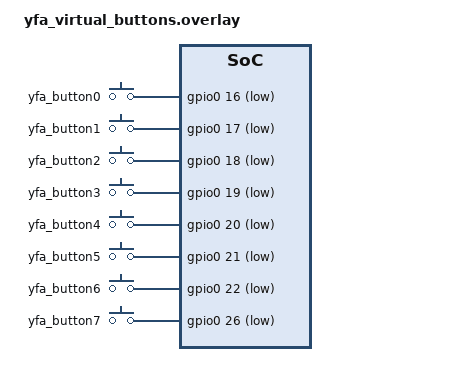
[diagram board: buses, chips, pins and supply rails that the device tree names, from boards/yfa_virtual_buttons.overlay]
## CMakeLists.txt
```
# Copyright (c) 2024 Henrik Brix Andersen <henrik@brixandersen.dk>
# SPDX-License-Identifier: Apache-2.0

cmake_minimum_required(VERSION 3.13.1)
# Tracked GPIO aliases must survive pristine builds. Kconfig values are not
# available until Zephyr configuration, so include for this board unconditionally.
if(BOARD MATCHES "^waveshare_rp2350_can")
  list(APPEND EXTRA_DTC_OVERLAY_FILE "${CMAKE_CURRENT_SOURCE_DIR}/boards/yfa_virtual_buttons.overlay")
endif()
find_package(Zephyr REQUIRED HINTS $ENV{ZEPHYR_BASE})

project(cannectivity LANGUAGES C)

if(CONFIG_CANNECTIVITY_USB_VID EQUAL 0x1209)
  if(CONFIG_CANNECTIVITY_USB_PID LESS_EQUAL 0x0010)
    message(WARNING
      "CONFIG_CANNECTIVITY_USB_PID is set to a generic pid.codes Test PID (${CONFIG_CANNECTIVITY_USB_PID}).
This PID is not unique and should not be used outside test environments."
      )
  endif()
endif()

if(CONFIG_CANNECTIVITY_DFU_BACKEND_APP)
  if(CONFIG_CANNECTIVITY_USB_DFU_VID EQUAL 0x1209)
    if(CONFIG_CANNECTIVITY_USB_DFU_PID LESS_EQUAL 0x0010)
      message(WARNING
        "CONFIG_CANNECTIVITY_USB_DFU_PID is set to a generic pid.codes Test PID (${CONFIG_CANNECTIVITY_USB_DFU_PID}).
This PID is not unique and should not be used outside test environments."
        )
    endif()
  endif()
endif()

target_sources(app PRIVATE
  src/main.c
  src/usb.c
)

target_sources_ifdef(CONFIG_CANNECTIVITY_LED app PRIVATE
  src/led.c
)

target_sources_ifdef(CONFIG_CANNECTIVITY_TIMESTAMP_COUNTER app PRIVATE
  src/timestamp-counter.c
)

target_sources_ifdef(CONFIG_CANNECTIVITY_TIMESTAMP_UPTIME app PRIVATE
  src/timestamp-uptime.c
)

target_sources_ifdef(CONFIG_CANNECTIVITY_TERMINATION_GPIO app PRIVATE
  src/termination.c
)

target_sources_ifdef(CONFIG_CANNECTIVITY_DFU_SUPPORT app PRIVATE
  src/dfu.c
)


target_sources_ifdef(CONFIG_CANNECTIVITY_VIRTUAL_BUTTONS app PRIVATE src/virtual_buttons.c)
```

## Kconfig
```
# Copyright (c) 2024-2025 Henrik Brix Andersen <henrik@brixandersen.dk>
# SPDX-License-Identifier: Apache-2.0

menu "CANnectivity"

module = CANNECTIVITY
module-str = CANnectivity
source "subsys/logging/Kconfig.template.log_config"

config CANNECTIVITY_VIRTUAL_BUTTONS
	bool "USB-only virtual CAN frames from GPIO buttons"
	select GPIO
	default n
	help
	  Poll up to eight active-low GPIO buttons and report state changes
	  to the USB host using standard CAN identifier 0x555.
	  Frames are never transmitted onto the physical CAN bus.

config CANNECTIVITY_VIRTUAL_BUTTON_DEBOUNCE_MS
    int "Virtual GPIO button debounce duration (ms)"
    depends on CANNECTIVITY_VIRTUAL_BUTTONS
    range 10 1000
    default 50
    help
      Minimum time a sampled GPIO button state must remain unchanged
      before a new USB-only virtual CAN button state is reported.
      The GPIO polling interval is 10 ms. The effective debounce
      threshold is rounded up to whole polling intervals.

config CANNECTIVITY_BOOT_BANNER
	bool "CANnectivity boot banner"
	default y if BOOT_BANNER
	select PRINTK
	help
	  Print the CANnectivity firmware version during boot up.

config CANNECTIVITY_USB_MANUFACTURER
	string "USB device manufacturer string"
	default "CANnectivity"
	help
	  CANnectivity USB device manufacturer string.

config CANNECTIVITY_USB_PRODUCT
	string "USB device product string"
	default "CANnectivity USB to CAN adapter"
	help
	  CANnectivity USB device product string.

config CANNECTIVITY_USB_VID
	hex "USB device Vendor ID (VID)"
	default 0x1209
	help
	  CANnectivity USB device Vendor ID (VID).

config CANNECTIVITY_USB_PID
	hex "USB device Product ID (PID)"
	default 0xca01
	help
	  CANnectivity USB device Product ID (PID).

config CANNECTIVITY_USB_SELF_POWERED
	bool "USB device is self-powered"
	default y
	help
	  CANnectivity USB device is self-powered.

config CANNECTIVITY_USB_MAX_POWER
	int "USB device maximum power"
	default 125
	range 0 250
	help
	  CANnectivity USB maximum current draw in milliampere (mA) divided by 2.
	  A value of 125 results in a maximum current draw value of 250 mA.

config CANNECTIVITY_MAX_CHANNELS
	int "Maximum number of supported channels"
	default 1 if !$(dt_compat_enabled,cannectivity-channel)
	default $(dt_compat_enabled_num,cannectivity-channel) if $(dt_compat_enabled,cannectivity-channel)
	range 1 256
	help
	  Maximum number of supported Geschwister Schneider USB/CAN (gs_usb) channels. Each channel
	  represents one CAN controller.

	  The Linux kernel driver supports up to 3 channels. Other drivers may support just one
	  channel.

if USB_DEVICE_STACK

configdefault USB_DEVICE_MANUFACTURER
	default CANNECTIVITY_USB_MANUFACTURER

configdefault USB_DEVICE_PRODUCT
	default CANNECTIVITY_USB_PRODUCT

configdefault USB_DEVICE_VID
	default CANNECTIVITY_USB_VID

configdefault USB_DEVICE_PID
	default CANNECTIVITY_USB_PID

configdefault USB_SELF_POWERED
	default CANNECTIVITY_USB_SELF_POWERED

configdefault USB_MAX_POWER
	default CANNECTIVITY_USB_MAX_POWER

configdefault USB_DEVICE_GS_USB_MAX_CHANNELS
	default CANNECTIVITY_MAX_CHANNELS

endif # USB_DEVICE_STACK

if USB_DEVICE_STACK_NEXT

configdefault USBD_GS_USB_MAX_CHANNELS
	default CANNECTIVITY_MAX_CHANNELS

endif # USB_DEVICE_STACK_NEXT

config CANNECTIVITY_LED
	bool "LED support"
	default y
	depends on $(dt_compat_any_has_prop,cannectivity-channel,state-led) || \
		   $(dt_compat_any_has_prop,cannectivity-channel,activity-leds) || \
		   ($(dt_alias_enabled,led0) && !$(dt_compat_enabled,cannectivity))
	select LED
	select SMF
	select SMF_ANCESTOR_SUPPORT
	select SMF_INITIAL_TRANSITION
	select POLL
	select USB_DEVICE_GS_USB_IDENTIFICATION if USB_DEVICE_GS_USB
	select USBD_GS_USB_IDENTIFICATION if USBD_GS_USB
	help
	  Enable support for CAN channel status/activity LEDs.

if CANNECTIVITY_LED

config CANNECTIVITY_LED_EVENT_MSGQ_SIZE
	int "LED event message queue size"
	default 10
	help
	  Number of per-channel LED events that can be queued for the finite-state machine.

endif # CANNECTIVITY_LED

config CANNECTIVITY_TIMESTAMP
	bool # hidden
	select USB_DEVICE_GS_USB_TIMESTAMP if USB_DEVICE_GS_USB
	select USBD_GS_USB_TIMESTAMP if USBD_GS_USB
	help
	  Enable support for hardware timestamps.

config CANNECTIVITY_TIMESTAMP_COUNTER
	bool "Hardware timestamp support (32-bit counter @ 1MHz)"
	default y
	depends on $(dt_nodelabel_has_prop,cannectivity,timestamp-counter)
	select COUNTER
	select CANNECTIVITY_TIMESTAMP
	help
	  Enable support for hardware timestamps. This requires a 32-bit counter instance running @
	  1MHz.

config CANNECTIVITY_TIMESTAMP_UPTIME
	bool "Hardware timestamp support (64-bit cycle counter)"
	default y
	depends on TIMER_HAS_64BIT_CYCLE_COUNTER
	depends on !CANNECTIVITY_TIMESTAMP_COUNTER
	select CANNECTIVITY_TIMESTAMP
	help
	  Enable support for hardware timestamps. This requires a 64-bit cycle counter.

config CANNECTIVITY_TERMINATION_GPIO
	bool "CAN bus termination resistor support"
	default y
	depends on $(dt_compat_any_has_prop,cannectivity-channel,termination-gpios)
	select USB_DEVICE_GS_USB_TERMINATION if USB_DEVICE_GS_USB
	select USBD_GS_USB_TERMINATION if USBD_GS_USB
	select GPIO
	help
	  Enable support for GPIO-controlled CAN bus termination resistors.

config CANNECTIVITY_TERMINATION_DEFAULT_ON
	bool "Enable CAN bus termination resistors on boot-up"
	default y
	depends on CANNECTIVITY_TERMINATION_GPIO
	help
	  Enable CAN bus termination resistors on boot-up.

menuconfig CANNECTIVITY_DFU_SUPPORT
	bool "Device Firmware Upgrade (DFU) support"
	default y if BOOTLOADER_MCUBOOT
	help
	  Enable Device Firmware Upgrade (DFU) support.

if CANNECTIVITY_DFU_SUPPORT

choice CANNECTIVITY_DFU_BACKEND
	bool "DFU backend"
	default CANNECTIVITY_DFU_BACKEND_NONE if !BOOTLOADER_MCUBOOT
	default CANNECTIVITY_DFU_BACKEND_MCUBOOT if BOOTLOADER_MCUBOOT && USB_DEVICE_STACK
	default CANNECTIVITY_DFU_BACKEND_MCUBOOT if BOOTLOADER_MCUBOOT && MCUBOOT_BOOTLOADER_MODE_SINGLE_APP
	default CANNECTIVITY_DFU_BACKEND_APP if BOOTLOADER_MCUBOOT && USB_DEVICE_STACK_NEXT

config CANNECTIVITY_DFU_BACKEND_NONE
	bool "No backend"
	help
	  Device Firmware Upgrade is handled by an on-chip ROM bootloader.

config CANNECTIVITY_DFU_BACKEND_MCUBOOT
	bool "MCUboot"
	depends on BOOTLOADER_MCUBOOT
	help
	  Device Firmware Upgrade is handled by rebooting into MCUboot, with the bootloader exposing
	  an USB DFU or serial recovery interface.

config CANNECTIVITY_DFU_BACKEND_APP
	bool "Application"
	depends on BOOTLOADER_MCUBOOT && !MCUBOOT_BOOTLOADER_MODE_SINGLE_APP && USB_DEVICE_STACK_NEXT
	help
	  Device Firmware Upgrade is handled by the CANnectivity firmware application. The upgrade
	  process is handled by MCUboot upon reboot.

endchoice

config CANNECTIVITY_DFU_REBOOT
	bool "Automatic reboot upon DFU download completion"
	depends on CANNECTIVITY_DFU_BACKEND_APP
	default y
	select REBOOT
	help
	  Automatically reboot device upon completion of a DFU download.

config CANNECTIVITY_DFU_REBOOT_DELAY
	int "Reboot delay"
	default 100
	range 0 60000
	depends on CANNECTIVITY_DFU_REBOOT
	help
	  Delay in milliseconds between completion of a DFU download and device reboot.

config CANNECTIVITY_USB_DFU_PRODUCT
	string "USB DFU device product string"
	default "CANnectivity USB to CAN adapter (DFU)"
	depends on CANNECTIVITY_DFU_BACKEND_APP
	help
	  CANnectivity USB device DFU product string.

config CANNECTIVITY_USB_DFU_VID
	hex "USB device DFU Vendor ID (VID)"
	default 0xffff if !CANNECTIVITY_DFU_BACKEND_APP
	default 0x1209 if CANNECTIVITY_DFU_BACKEND_APP
	help
	  CANnectivity USB device DFU Vendor ID (VID).

config CANNECTIVITY_USB_DFU_PID
	hex "USB device DFU Product ID (PID)"
	default 0xffff if !CANNECTIVITY_DFU_BACKEND_APP
	default 0xca02 if CANNECTIVITY_DFU_BACKEND_APP
	help
	  CANnectivity USB device DFU Product ID (PID).

if CANNECTIVITY_DFU_BACKEND_MCUBOOT || CANNECTIVITY_DFU_BACKEND_APP

config CANNECTIVITY_DFU_BUTTON
	bool "DFU button support"
	default y
	depends on $(dt_alias_enabled,mcuboot-button0)
	select GPIO
	select REBOOT if CANNECTIVITY_DFU_BACKEND_MCUBOOT
	help
	  Enable support for activating Device Firmware Upgrade (DFU) mode by holding the DFU button
	  (identified by the "mcuboot-button0" devicetree alias).

config CANNECTIVITY_DFU_BUTTON_HOLD_TIME
	int "DFU button hold time in seconds"
	depends on CANNECTIVITY_DFU_BUTTON
	range 1 60
	default 4
	help
	  Number of seconds the Device Firmware Upgrade (DFU) button must be held to activate DFU
	  mode.

config CANNECTIVITY_DFU_LED
	bool # hidden
	default y
	depends on $(dt_alias_enabled,mcuboot-led0)
	select LED
	help
	  Enable support for controlling the Device Firmware Upgrade (DFU) LED (identified by the
	  "mcuboot-led0" devicetree alias).

configdefault FLASH
	default y

configdefault STREAM_FLASH
	default y

configdefault FLASH_MAP
	default y

configdefault IMG_MANAGER
	default y

if CANNECTIVITY_DFU_BACKEND_APP

if ARM_MPU

configdefault MPU_ALLOW_FLASH_WRITE
	default y

endif # ARM_MPU

configdefault USBD_DFU
	default y

configdefault USBD_DFU_MANIFESTATION_TOLERANT
	default !CANNECTIVITY_DFU_REBOOT

configdefault USBD_DFU_FLASH
	default y

configdefault USBD_DFU_FLASH_SLOT0
	default n

configdefault USBD_DFU_FLASH_SLOT1
	default y

configdefault USBD_DFU_NUMOF_IMAGES
	default 1

configdefault IMG_ERASE_PROGRESSIVELY
	default y

endif # CANNECTIVITY_DFU_BACKEND_APP

endif # CANNECTIVITY_DFU_BACKEND_MCUBOOT || CANNECTIVITY_DFU_BACKEND_APP

config CANNECTIVITY_GENERATE_USB_DFU_IMAGE
	bool "Generate USB DFU image"
	select BUILD_OUTPUT_BIN
	default y
	help
	  Enabling this configuration allows automatic generation of an image with USB Device
	  Firmware Upgrade (DFU) suffix. This depends on the dfu-suffix utility from the dfu-util
	  software package.

config CANNECTIVITY_USB_DFU_SPEC_ID
	hex "USB DFU image Specification ID"
	default 0x0100
	depends on CANNECTIVITY_GENERATE_USB_DFU_IMAGE
	help
	  CANnectivity USB DFU image Specification ID.

endif # CANNECTIVITY_DFU_SUPPORT

endmenu

source "Kconfig.zephyr"
```

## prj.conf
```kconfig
# This is using the deprecated USB device stack
CONFIG_DEPRECATION_TEST=y

CONFIG_LOG=y
CONFIG_USB_DRIVER_LOG_LEVEL_ERR=y
CONFIG_USB_DEVICE_LOG_LEVEL_ERR=y
CONFIG_USB_DEVICE_GS_USB_LOG_LEVEL_WRN=y
CONFIG_CANNECTIVITY_LOG_LEVEL_WRN=y

CONFIG_USB_DEVICE_STACK=y
CONFIG_USB_DEVICE_BOS=y
CONFIG_USB_DEVICE_INITIALIZE_AT_BOOT=n

CONFIG_CAN=y
CONFIG_CAN_FD_MODE=y

# Prioritize USB-host CAN transmissions over ordinary application work.
# RX/TX FIFO and CAN controller arbitration remain unchanged.
CONFIG_USB_DEVICE_GS_USB_TX_THREAD_PRIO=-2
```

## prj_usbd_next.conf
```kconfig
CONFIG_WARN_EXPERIMENTAL=y

CONFIG_LOG=y
CONFIG_UDC_DRIVER_LOG_LEVEL_WRN=y
CONFIG_USBD_LOG_LEVEL_WRN=y
CONFIG_USBD_GS_USB_LOG_LEVEL_DBG=y
CONFIG_CANNECTIVITY_LOG_LEVEL_DBG=y

CONFIG_USB_DEVICE_STACK_NEXT=y

CONFIG_CAN=y
CONFIG_CAN_FD_MODE=y

# Match the low-latency host-to-CAN TX scheduling used by the legacy USB stack.
CONFIG_USBD_GS_USB_TX_THREAD_PRIO=-2
```

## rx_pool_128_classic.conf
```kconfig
CONFIG_USBD_GS_USB_POOL_SIZE=128
CONFIG_CAN_FD_MODE=n
CONFIG_CANNECTIVITY_USB_PRODUCT="Project YFA CAN-USB adapter"
```

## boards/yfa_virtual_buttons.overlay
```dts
/* Project YFA virtual USB-only buttons on Waveshare RP2350-CAN.
 * GPIO inputs are active low; no physical CAN frames are transmitted.
 */
#include <zephyr/dt-bindings/gpio/gpio.h>

/ {
    aliases {
        yfa-button0 = &yfa_button0;
        yfa-button1 = &yfa_button1;
        yfa-button2 = &yfa_button2;
        yfa-button3 = &yfa_button3;
        yfa-button4 = &yfa_button4;
        yfa-button5 = &yfa_button5;
        yfa-button6 = &yfa_button6;
        yfa-button7 = &yfa_button7;
    };

    yfa_buttons: yfa-buttons {
        compatible = "gpio-keys";
        yfa_button0: button-0 { gpios = <&gpio0 16 GPIO_ACTIVE_LOW>; };
        yfa_button1: button-1 { gpios = <&gpio0 17 GPIO_ACTIVE_LOW>; };
        yfa_button2: button-2 { gpios = <&gpio0 18 GPIO_ACTIVE_LOW>; };
        yfa_button3: button-3 { gpios = <&gpio0 19 GPIO_ACTIVE_LOW>; };
        yfa_button4: button-4 { gpios = <&gpio0 20 GPIO_ACTIVE_LOW>; };
        yfa_button5: button-5 { gpios = <&gpio0 21 GPIO_ACTIVE_LOW>; };
        yfa_button6: button-6 { gpios = <&gpio0 22 GPIO_ACTIVE_LOW>; };
        yfa_button7: button-7 { gpios = <&gpio0 26 GPIO_ACTIVE_LOW>; };
    };
};
```

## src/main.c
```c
/*
 * Copyright (c) 2024 Henrik Brix Andersen <henrik@brixandersen.dk>
 *
 * SPDX-License-Identifier: Apache-2.0
 */

#include <zephyr/device.h>
#include <zephyr/devicetree.h>
#include <zephyr/logging/log.h>
#include <zephyr/usb/usbd.h>

#include <cannectivity/usb/class/gs_usb.h>

#include "cannectivity.h"
#include "zephyr/app_version.h"

LOG_MODULE_REGISTER(main, CONFIG_CANNECTIVITY_LOG_LEVEL);

#ifdef CONFIG_CANNECTIVITY_BOOT_BANNER
#if defined(APP_BUILD_VERSION) && !IS_EMPTY(APP_BUILD_VERSION)
#define CANNECTIVITY_BANNER_VERSION STRINGIFY(APP_BUILD_VERSION)
#else
#define CANNECTIVITY_BANNER_VERSION APP_VERSION_STRING
#endif
#endif /* CONFIG_CANNECTIVITY_BOOT_BANNER */

#define CHANNEL_CAN_CONTROLLER_DT_GET(node_id) DEVICE_DT_GET(DT_PHANDLE(node_id, can_controller))

static int cannectivity_gs_usb_event(const struct device *dev, uint16_t ch,
				     enum gs_usb_event event, void *user_data)
{
#ifdef CONFIG_CANNECTIVITY_VIRTUAL_BUTTONS
	if (ch == 0U && (event == GS_USB_EVENT_CHANNEL_STARTED ||
			event == GS_USB_EVENT_CHANNEL_STOPPED)) {
		cannectivity_virtual_buttons_channel_event(event == GS_USB_EVENT_CHANNEL_STARTED);
	}
#endif
#ifdef CONFIG_CANNECTIVITY_LED
	return cannectivity_led_event(dev, ch, event, user_data);
#else
	return 0;
#endif
}

static const struct gs_usb_ops gs_usb_ops = {
#ifdef CONFIG_CANNECTIVITY_TIMESTAMP
	.timestamp = cannectivity_timestamp_get,
#endif
	.event = cannectivity_gs_usb_event,
#ifdef CONFIG_CANNECTIVITY_TERMINATION_GPIO
	.set_termination = cannectivity_set_termination,
	.get_termination = cannectivity_get_termination,
#endif
};

int main(void)
{
	const struct device *gs_usb = DEVICE_DT_GET(DT_NODELABEL(gs_usb0));
	const struct device *channels[] = {
#if CANNECTIVITY_DT_HAS_CHANNEL
		CANNECTIVITY_DT_FOREACH_CHANNEL_SEP(CHANNEL_CAN_CONTROLLER_DT_GET, (,))
#else /* CANNECTIVITY_DT_HAS_CHANNEL */
		DEVICE_DT_GET(DT_CHOSEN(zephyr_canbus))
#endif /* !CANNECTIVITY_DT_HAS_CHANNEL */
	};
	int err;

#ifdef CONFIG_CANNECTIVITY_BOOT_BANNER
	printk("*** CANnectivity firmware " CANNECTIVITY_BANNER_VERSION " ***\n");
#endif /* CONFIG_CANNECTIVITY_BOOT_BANNER */

	if (!device_is_ready(gs_usb)) {
		LOG_ERR("gs_usb USB device not ready");
		return 0;
	}

	if (IS_ENABLED(CONFIG_CANNECTIVITY_LED)) {
		err = cannectivity_led_init();
		if (err != 0) {
			return 0;
		}
	}

	if (IS_ENABLED(CONFIG_CANNECTIVITY_TERMINATION_GPIO)) {
		err = cannectivity_termination_init();
		if (err != 0) {
			return 0;
		}
	}

	if (IS_ENABLED(CONFIG_CANNECTIVITY_TIMESTAMP)) {
		err = cannectivity_timestamp_init();
		if (err != 0) {
			return 0;
		}
	}

	err = gs_usb_register(gs_usb, channels, ARRAY_SIZE(channels), &gs_usb_ops, NULL);
	if (err != 0U) {
		LOG_ERR("failed to register gs_usb (err %d)", err);
		return 0;
	}

	if (IS_ENABLED(CONFIG_CANNECTIVITY_VIRTUAL_BUTTONS)) {
#ifdef CONFIG_CANNECTIVITY_VIRTUAL_BUTTONS
		err = cannectivity_virtual_buttons_init(gs_usb);
		if (err != 0) {
			/* Optional GPIO inputs must never prevent the primary USB/CAN
			 * adapter from starting. The GPIO worker is only scheduled after
			 * all pins have been configured successfully.
			 */
			LOG_ERR("virtual buttons unavailable (err %d); continuing USB/CAN startup", err);
		}
#endif
	}

	err = cannectivity_usb_init();
	if (err) {
		LOG_ERR("failed to enable USB device");
		return err;
	}

	if (IS_ENABLED(CONFIG_CANNECTIVITY_DFU_SUPPORT)) {
		err = cannectivity_dfu_init();
		if (err) {
			LOG_ERR("failed to initialize DFU");
			return err;
		}
	}

	LOG_INF("CANnectivity firmware initialized with %u channel%s", ARRAY_SIZE(channels),
		ARRAY_SIZE(channels) > 1 ? "s" : "");
}
```

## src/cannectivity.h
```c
/*
 * Copyright (c) 2024 Henrik Brix Andersen <henrik@brixandersen.dk>
 *
 * SPDX-License-Identifier: Apache-2.0
 */

#ifndef CANNECTIVITY_APP_CANNECTIVITY_H_
#define CANNECTIVITY_APP_CANNECTIVITY_H_

#include <zephyr/device.h>
#include <zephyr/devicetree.h>
#include <cannectivity/usb/class/gs_usb.h>

/**
 * @brief The CANnectivity devicetree hardware configuration node identifier
 */
#define CANNECTIVITY_DT_NODE_ID DT_NODELABEL(cannectivity)

/**
 * @brief True if one or more CANnectivity channels are present in the devicetree, false otherwise
 */
#define CANNECTIVITY_DT_HAS_CHANNEL DT_HAS_COMPAT_STATUS_OKAY(cannectivity_channel)

/**
 * @brief Invokes @p fn for each CANnectivity devicetree channel node with a separator
 *
 * The macro @p fn must take one parameter, which will be the node identifier of a CANnectivity
 * channel node.
 *
 * @param fn The macro to invoke.
 * @param sep Separator (e.g. comma or semicolon). Must be in parentheses;
 *            this is required to enable providing a comma as separator.
 */
#define CANNECTIVITY_DT_FOREACH_CHANNEL_SEP(fn, sep)                                               \
	DT_FOREACH_CHILD_STATUS_OKAY_SEP(CANNECTIVITY_DT_NODE_ID, fn, sep)

/**
 * @brief CANnectivity CAN channel LED event callback
 *
 * @param dev Pointer to the device structure for the driver instance.
 * @param ch CAN channel number.
 * @param event Channel event.
 * @param user_data User data provided when registering the callback.
 * @return 0 on success, negative error number otherwise.
 */
int cannectivity_led_event(const struct device *dev, uint16_t ch, enum gs_usb_event event,
			   void *user_data);

/**
 * @brief CANnectivity LED initialization function
 *
 * @return 0 on success, negative error number otherwise.
 */
int cannectivity_led_init(void);


bool cannectivity_user_led_get_disabled(void);
int cannectivity_user_led_set_disabled(bool disabled);
/**
 * @brief CANnectivity CAN channel set CAN bus termination callback
 *
 * @param dev Pointer to the device structure for the driver instance.
 * @param ch CAN channel number.
 * @param terminate True if the channel termination is active, false otherwise.
 * @param user_data User data provided when registering the callback.
 * @return 0 on success, negative error number otherwise.
 */
int cannectivity_set_termination(const struct device *dev, uint16_t ch, bool terminate,
				 void *user_data);

/**
 * @brief CANnectivity CAN channel get CAN bus termination callback
 *
 * @param dev Pointer to the device structure for the driver instance.
 * @param ch CAN channel number.
 * @param[out] terminated True if the channel termination is active, false otherwise.
 * @param user_data User data provided when registering the callback.
 * @return 0 on success, negative error number otherwise.
 */
int cannectivity_get_termination(const struct device *dev, uint16_t ch, bool *terminated,
				 void *user_data);

/**
 * @brief CANnectivity CAN bus termination initialization function
 *
 * @return 0 on success, negative error number otherwise.
 */
int cannectivity_termination_init(void);

/**
 * @brief CANnectivity get hardware timestamp callback
 *
 * @param dev Pointer to the device structure for the driver instance.
 * @param[out] timestamp Current timestamp value.
 * @param user_data User data provided when registering the callback.
 * @return 0 on success, negative error number otherwise.
 */
int cannectivity_timestamp_get(const struct device *dev, uint32_t *timestamp, void *user_data);

/**
 * @brief CANnectivity hardware timestamp initialization function
 *
 * @return 0 on success, negative error number otherwise.
 */
int cannectivity_timestamp_init(void);

#ifdef CONFIG_CANNECTIVITY_DFU_BACKEND_APP
/**
 * @brief Switch CANnectivity to USB DFU mode
 */
void cannectivity_usb_switch_to_dfu_mode(void);
#endif /* CONFIG_CANNECTIVITY_DFU_BACKEND_APP */

/**
 * @brief CANnectivity USB device initialization function
 *
 * @return 0 on success, negative error number otherwise.
 */
int cannectivity_usb_init(void);

#ifdef CONFIG_CANNECTIVITY_DFU_LED
/**
 * @brief Turn on DFU LED
 *
 * @return 0 on success, negative error number otherwise.
 */
int cannectivity_dfu_led_on(void);
#endif /* CONFIG_CANNECTIVITY_DFU_LED */

/**
 * @brief CANnectivity USB DFU initialization function
 *
 * @return 0 on success, negative error number otherwise.
 */
int cannectivity_dfu_init(void);

#ifdef CONFIG_CANNECTIVITY_VIRTUAL_BUTTONS
int cannectivity_virtual_buttons_init(const struct device *gs_usb);
void cannectivity_virtual_buttons_channel_event(bool started);
#endif

#endif /* CANNECTIVITY_APP_CANNECTIVITY_H_ */
```

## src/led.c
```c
/*
 * Copyright (c) 2024 Henrik Brix Andersen <henrik@brixandersen.dk>
 *
 * SPDX-License-Identifier: Apache-2.0
 */

#include <zephyr/device.h>
#include <zephyr/drivers/led.h>
#include <zephyr/kernel.h>
#include <zephyr/sys/atomic.h>
#include <zephyr/logging/log.h>
#include <zephyr/smf.h>
#include <zephyr/sys_clock.h>

#include "cannectivity.h"

LOG_MODULE_REGISTER(led, CONFIG_CANNECTIVITY_LOG_LEVEL);

/* LED ticks */
#define LED_TICK_MS        50U
#define LED_TICKS_ACTIVITY 2U
#define LED_TICKS_IDENTIFY 20U

/* LED finite-state machine states */
enum led_state {
	LED_STATE_NORMAL,
	LED_STATE_NORMAL_STARTED,
	LED_STATE_NORMAL_STOPPED,
	LED_STATE_IDENTIFY,
};

/* LED finite-state machine events */
enum led_event {
	LED_EVENT_TICK,
	LED_EVENT_CHANNEL_IDENTIFY_ON,
	LED_EVENT_CHANNEL_IDENTIFY_OFF,
	LED_EVENT_CHANNEL_STARTED,
	LED_EVENT_CHANNEL_STOPPED,
	LED_EVENT_CHANNEL_ACTIVITY_RX,
	LED_EVENT_CHANNEL_ACTIVITY_TX,
	LED_EVENT_CHANNEL_ERROR_ON,
	LED_EVENT_CHANNEL_ERROR_OFF,
};

/* Activity types */
enum led_activity {
	LED_ACTIVITY_RX = 0U,
	LED_ACTIVITY_TX,
	LED_ACTIVITY_COUNT,
};

/* LED finite-state machine event data type */
typedef uint32_t led_event_t;

/* LED finite-state machine per-channel context */
struct led_ctx {
	struct smf_ctx ctx;
	char eventq_buf[sizeof(led_event_t) * CONFIG_CANNECTIVITY_LED_EVENT_MSGQ_SIZE];
	struct k_msgq eventq;
	struct k_work_poll eventq_work;
	struct k_poll_event eventq_poll_events[1];
	led_event_t event;
	uint16_t ch;
	bool started;
	bool error;
	struct led_dt_spec state_led;
	struct led_dt_spec error_led;
	int identify_ticks;
	k_timepoint_t activity[LED_ACTIVITY_COUNT];
	int ticks[LED_ACTIVITY_COUNT];
	struct led_dt_spec activity_led[LED_ACTIVITY_COUNT];
};

/* Devicetree accessor macros */
#define CHANNEL_LED_DT_SPEC_GET(node_id)                                                           \
	{                                                                                          \
		.state_led = LED_DT_SPEC_GET_OR(DT_PHANDLE(node_id, state_led), {0}),              \
		.error_led = LED_DT_SPEC_GET_OR(DT_PHANDLE(node_id, error_led), {0}),              \
		.activity_led[0] = LED_DT_SPEC_GET_OR(DT_PHANDLE_BY_IDX(node_id, activity_leds, 0),\
						      {0}),                                        \
		.activity_led[1] = LED_DT_SPEC_GET_OR(DT_PHANDLE_BY_IDX(node_id, activity_leds, 1),\
						      {0}),                                        \
	}

#define CHANNEL_LED0_DT_SPEC_GET()                                                                 \
	{                                                                                          \
		.state_led = LED_DT_SPEC_GET(DT_ALIAS(led0)),                                      \
	}

/* Array of LED finite-state machine channel contexts */
struct led_ctx led_channel_ctx[] = {
#if CANNECTIVITY_DT_HAS_CHANNEL
	CANNECTIVITY_DT_FOREACH_CHANNEL_SEP(CHANNEL_LED_DT_SPEC_GET, (,))
#else /* CANNECTIVITY_DT_HAS_CHANNEL */
	CHANNEL_LED0_DT_SPEC_GET()
#endif /* !CANNECTIVITY_DT_HAS_CHANNEL */
};

/* Helper macros */
#define LED_CTX_HAS_STATE_LED(_led_ctx)                                                            \
	(_led_ctx->state_led.dev != NULL)
#define LED_CTX_HAS_ERROR_LED(_led_ctx)                                                            \
	(_led_ctx->error_led.dev != NULL)
#define LED_CTX_HAS_ACTIVITY_LED(_led_ctx)                                                         \
	(_led_ctx->activity_led[LED_ACTIVITY_RX].dev != NULL)
#define LED_CTX_HAS_DUAL_ACTIVITY_LEDS(_led_ctx)                                                   \
	(_led_ctx->activity_led[LED_ACTIVITY_TX].dev != NULL)

/* Forward declarations */
static const struct smf_state led_states[];
static void led_tick(struct k_timer *timer);

/* Variables */
static K_TIMER_DEFINE(led_tick_timer, led_tick, NULL);


static atomic_t user_led_disabled;

bool cannectivity_user_led_get_disabled(void)
{
        return atomic_get(&user_led_disabled) != 0;
}

static int led_set_output(struct led_ctx *lctx, struct led_dt_spec *led, bool state)
{
        if (led == &lctx->state_led && cannectivity_user_led_get_disabled()) {
                state = false;
        }

        return state ? led_on_dt(led) : led_off_dt(led);
}
static int led_event_enqueue(uint16_t ch, led_event_t event)
{
	struct led_ctx *lctx;
	int err;

	if (ch >= ARRAY_SIZE(led_channel_ctx)) {
		LOG_ERR("event %u for non-existing channel %u", event, ch);
		return -EINVAL;
	}

	lctx = &led_channel_ctx[ch];
	err = k_msgq_put(&lctx->eventq, &event, K_NO_WAIT);
	if (err != 0) {
		LOG_ERR("failed to enqueue event %u for channel %u (err %d)", event, ch, err);
	}

	return 0;
}

static void led_indicate_state(struct led_ctx *lctx, bool state)
{
        int err;

        if (LED_CTX_HAS_STATE_LED(lctx)) {
                err = led_set_output(lctx, &lctx->state_led, state);
                if (err != 0) {
			LOG_ERR("failed to turn %s channel %u state LED (err %d)",
				state ? "on" : "off", lctx->ch, err);
		}
	}
}

static void led_indicate_error(struct led_ctx *lctx, bool error)
{
	int err;

	if (LED_CTX_HAS_ERROR_LED(lctx)) {
		if (error) {
			err = led_on_dt(&lctx->error_led);
		} else {
			err = led_off_dt(&lctx->error_led);
		}
		if (err != 0) {
			LOG_ERR("failed to turn %s channel %u error LED (err %d)",
				error ? "on" : "off", lctx->ch, err);
		}
	}
}

static void led_indicate_activity(struct led_ctx *lctx, enum led_activity type, bool activity)
{
	struct led_dt_spec *led = NULL;
	int value = activity;
	int err;

	switch (type) {
	case LED_ACTIVITY_RX:
		if (LED_CTX_HAS_ACTIVITY_LED(lctx)) {
			led = &lctx->activity_led[LED_ACTIVITY_RX];
		}
		break;

	case LED_ACTIVITY_TX:
		if (LED_CTX_HAS_DUAL_ACTIVITY_LEDS(lctx)) {
			led = &lctx->activity_led[LED_ACTIVITY_TX];
		} else if (LED_CTX_HAS_ACTIVITY_LED(lctx)) {
			led = &lctx->activity_led[LED_ACTIVITY_RX];
		}

		break;

	default:
		__ASSERT_NO_MSG(false);
		break;
	}

	if (led == NULL && lctx->started && LED_CTX_HAS_STATE_LED(lctx)) {
		led = &lctx->state_led;
		value = !value;
	}

	if (led != NULL) {
		err = led_set_output(lctx, led, value);
		if (err != 0) {
			LOG_ERR("failed to turn %s channel %u activity LED (err %d)",
				value ? "on" : "off", lctx->ch, err);
		}
	}
}

int cannectivity_user_led_set_disabled(bool disabled)
{
        struct led_ctx *lctx;
        uint16_t ch;
        int err = 0;
        int ret;

        atomic_set(&user_led_disabled, disabled ? 1 : 0);

        for (ch = 0; ch < ARRAY_SIZE(led_channel_ctx); ch++) {
                lctx = &led_channel_ctx[ch];
                if (!LED_CTX_HAS_STATE_LED(lctx)) {
                        continue;
                }

                ret = disabled ? led_off_dt(&lctx->state_led) :
                                 led_set_output(lctx, &lctx->state_led, lctx->started);
                if (ret != 0 && err == 0) {
                        err = ret;
                }
        }

        return err;
}

static enum smf_state_result led_state_normal_run(void *obj)
{
	struct led_ctx *lctx = obj;

	switch (lctx->event) {
	case LED_EVENT_CHANNEL_IDENTIFY_ON:
		smf_set_state(SMF_CTX(lctx), &led_states[LED_STATE_IDENTIFY]);
		break;
	default:
		return SMF_EVENT_PROPAGATE;
	}

	return SMF_EVENT_HANDLED;
}

static void led_state_normal_stopped_entry(void *obj)
{
	struct led_ctx *lctx = obj;

	if (lctx->started) {
		smf_set_state(SMF_CTX(obj), &led_states[LED_STATE_NORMAL_STARTED]);
		return;
	}

	led_indicate_state(lctx, false);
	led_indicate_error(lctx, false);
	led_indicate_activity(lctx, LED_ACTIVITY_RX, false);
	led_indicate_activity(lctx, LED_ACTIVITY_TX, false);
}

static enum smf_state_result led_state_normal_stopped_run(void *obj)
{
	struct led_ctx *lctx = obj;

	switch (lctx->event) {
	case LED_EVENT_CHANNEL_STARTED:
		lctx->started = true;
		smf_set_state(SMF_CTX(lctx), &led_states[LED_STATE_NORMAL_STARTED]);
		break;
	default:
		return SMF_EVENT_PROPAGATE;
	}

	return SMF_EVENT_HANDLED;
}

static void led_state_normal_started_entry(void *obj)
{
	struct led_ctx *lctx = obj;

	led_indicate_state(lctx, true);
	led_indicate_error(lctx, lctx->error);
	led_indicate_activity(lctx, LED_ACTIVITY_RX, false);
	led_indicate_activity(lctx, LED_ACTIVITY_TX, false);
}

static enum smf_state_result led_state_normal_started_run(void *obj)
{
	struct led_ctx *lctx = obj;
	int i;

	switch (lctx->event) {
	case LED_EVENT_TICK:
		for (i = 0; i < ARRAY_SIZE(lctx->ticks); i++) {
			if (lctx->ticks[i] != 0U) {
				lctx->ticks[i]--;
				if (lctx->ticks[i] == (LED_TICKS_ACTIVITY / 2U)) {
					led_indicate_activity(lctx, i, true);
				} else if (lctx->ticks[i] == 0U) {
					led_indicate_activity(lctx, i, false);
				}
			}
		}
		break;
	case LED_EVENT_CHANNEL_STOPPED:
		lctx->started = false;
		smf_set_state(SMF_CTX(lctx), &led_states[LED_STATE_NORMAL_STOPPED]);
		break;
	case LED_EVENT_CHANNEL_ACTIVITY_TX:
		lctx->ticks[LED_ACTIVITY_TX] = LED_TICKS_ACTIVITY;
		break;
	case LED_EVENT_CHANNEL_ACTIVITY_RX:
		lctx->ticks[LED_ACTIVITY_RX] = LED_TICKS_ACTIVITY;
		break;
	case LED_EVENT_CHANNEL_ERROR_ON:
		lctx->error = true;
		led_indicate_error(lctx, true);
		break;
	case LED_EVENT_CHANNEL_ERROR_OFF:
		lctx->error = false;
		led_indicate_error(lctx, false);
		break;
	default:
		return SMF_EVENT_PROPAGATE;
	}

	return SMF_EVENT_HANDLED;
}

static void led_state_identify_entry(void *obj)
{
	struct led_ctx *lctx = obj;

	lctx->identify_ticks = LED_TICKS_IDENTIFY;

	led_indicate_state(lctx, true);
	led_indicate_error(lctx, true);
	led_indicate_activity(lctx, LED_ACTIVITY_RX, true);
	led_indicate_activity(lctx, LED_ACTIVITY_TX, true);
}

static enum smf_state_result led_state_identify_run(void *obj)
{
	struct led_ctx *lctx = obj;
	struct led_dt_spec *leds[4];
	int err;
	int i;

	switch (lctx->event) {
	case LED_EVENT_TICK:
		leds[0] = &lctx->state_led;
		leds[1] = &lctx->error_led;
		leds[2] = &lctx->activity_led[LED_ACTIVITY_RX];
		leds[3] = &lctx->activity_led[LED_ACTIVITY_TX];

		lctx->identify_ticks--;

		if (lctx->identify_ticks == LED_TICKS_IDENTIFY / 2U) {
			for (i = 0; i < ARRAY_SIZE(leds); i++) {
				if (leds[i]->dev != NULL) {
					err = led_set_output(lctx, leds[i], false);
					if (err != 0) {
						LOG_ERR("failed to turn channel %u LED %d off"
							"(err %d)", lctx->ch, i, err);
					}
				}
			}
		} else if (lctx->identify_ticks == 0U) {
			for (i = 0; i < ARRAY_SIZE(leds); i++) {
				if (leds[i]->dev != NULL) {
					err = led_set_output(lctx, leds[i], true);
					if (err != 0) {
						LOG_ERR("failed to turn channel %u LED %d on "
							"(err %d)", lctx->ch, i, err);
					}
				}
			}

			lctx->identify_ticks = LED_TICKS_IDENTIFY;
		}
		break;
	case LED_EVENT_CHANNEL_STARTED:
		lctx->started = true;
		break;
	case LED_EVENT_CHANNEL_STOPPED:
		lctx->started = false;
		break;
	case LED_EVENT_CHANNEL_IDENTIFY_OFF:
		smf_set_state(SMF_CTX(lctx), &led_states[LED_STATE_NORMAL]);
		break;
	case LED_EVENT_CHANNEL_ERROR_ON:
		lctx->error = true;
		break;
	case LED_EVENT_CHANNEL_ERROR_OFF:
		lctx->error = false;
		break;
	default:
		return SMF_EVENT_PROPAGATE;
	}

	return SMF_EVENT_HANDLED;
}

/* clang-format off */
static const struct smf_state led_states[] = {
	[LED_STATE_NORMAL] = SMF_CREATE_STATE(NULL,
					      led_state_normal_run,
					      NULL,
					      NULL,
					      &led_states[LED_STATE_NORMAL_STOPPED]),
	[LED_STATE_NORMAL_STOPPED] = SMF_CREATE_STATE(led_state_normal_stopped_entry,
						      led_state_normal_stopped_run,
						      NULL,
						      &led_states[LED_STATE_NORMAL],
						      NULL),
	[LED_STATE_NORMAL_STARTED] = SMF_CREATE_STATE(led_state_normal_started_entry,
						      led_state_normal_started_run,
						      NULL,
						      &led_states[LED_STATE_NORMAL],
						      NULL),
	[LED_STATE_IDENTIFY] = SMF_CREATE_STATE(led_state_identify_entry,
						led_state_identify_run,
						NULL,
						NULL,
						NULL),
};
/* clang-format on */

static void led_tick(struct k_timer *timer)
{
	uint16_t ch;
	int err;

	ARG_UNUSED(timer);

	for (ch = 0; ch < ARRAY_SIZE(led_channel_ctx); ch++) {
		err = led_event_enqueue(ch, LED_EVENT_TICK);
		if (err != 0) {
			LOG_WRN("failed to enqueue LED tick event for channel %u (err %d)", ch,
				err);
		}
	}
}

int cannectivity_led_event(const struct device *dev, uint16_t ch, enum gs_usb_event event,
			   void *user_data)
{
	led_event_t led_event;
	struct led_ctx *lctx;
	int err;

	ARG_UNUSED(dev);
	ARG_UNUSED(user_data);

	if (ch >= ARRAY_SIZE(led_channel_ctx)) {
		LOG_ERR("event for non-existing channel %u", ch);
		return -EINVAL;
	}

	lctx = &led_channel_ctx[ch];

	switch (event) {
	case GS_USB_EVENT_CHANNEL_STARTED:
		LOG_DBG("channel %u started", ch);
		led_event = LED_EVENT_CHANNEL_STARTED;
		break;
	case GS_USB_EVENT_CHANNEL_STOPPED:
		LOG_DBG("channel %u stopped", ch);
		led_event = LED_EVENT_CHANNEL_STOPPED;
		break;
	case GS_USB_EVENT_CHANNEL_ERROR_ON:
		led_event = LED_EVENT_CHANNEL_ERROR_ON;
		break;
	case GS_USB_EVENT_CHANNEL_ERROR_OFF:
		led_event = LED_EVENT_CHANNEL_ERROR_OFF;
		break;
	case GS_USB_EVENT_CHANNEL_ACTIVITY_RX:
		__fallthrough;
	case GS_USB_EVENT_CHANNEL_ACTIVITY_TX:
		/* Low-pass filtering of RX/TX activity events is combined if no TX LED */
		led_event = LED_EVENT_CHANNEL_ACTIVITY_RX;
		int idx = LED_ACTIVITY_RX;

		if (event == GS_USB_EVENT_CHANNEL_ACTIVITY_TX) {
			led_event = LED_EVENT_CHANNEL_ACTIVITY_TX;

			if (LED_CTX_HAS_DUAL_ACTIVITY_LEDS(lctx)) {
				idx = LED_ACTIVITY_TX;
			}
		}

		if (!sys_timepoint_expired(lctx->activity[idx])) {
			goto skipped;
		}

		lctx->activity[idx] = sys_timepoint_calc(K_MSEC(LED_TICK_MS * LED_TICKS_ACTIVITY));
		break;
#if defined(CONFIG_USB_DEVICE_GS_USB_IDENTIFICATION) || defined(CONFIG_USBD_GS_USB_IDENTIFICATION)
	case GS_USB_EVENT_CHANNEL_IDENTIFY_ON:
		LOG_DBG("identify channel %u on", ch);
		led_event = LED_EVENT_CHANNEL_IDENTIFY_ON;
		break;
	case GS_USB_EVENT_CHANNEL_IDENTIFY_OFF:
		LOG_DBG("identify channel %u off", ch);
		led_event = LED_EVENT_CHANNEL_IDENTIFY_OFF;
		break;
#endif
	default:
		/* Unsupported event */
		goto skipped;
	}

	err = led_event_enqueue(ch, led_event);
	if (err != 0) {
		LOG_ERR("failed to enqueue LED event for channel %u (err %d)", ch, err);
	}

skipped:
	return 0;
}

static void led_event_triggered_work_handler(struct k_work *work)
{
	struct k_work_poll *pwork = CONTAINER_OF(work, struct k_work_poll, work);
	struct led_ctx *lctx = CONTAINER_OF(pwork, struct led_ctx, eventq_work);
	int err;

	err = k_msgq_get(&lctx->eventq, &lctx->event, K_NO_WAIT);
	if (err != 0) {
		LOG_ERR("failed to get event from queue (err %d)", err);
		goto resubmit;
	}

	err = smf_run_state(SMF_CTX(lctx));
	if (err != 0) {
		LOG_ERR("LED finite-state machine terminated (err %d)", err);
		goto resubmit;
	}

resubmit:
	err = k_work_poll_submit(&lctx->eventq_work, lctx->eventq_poll_events,
				 ARRAY_SIZE(lctx->eventq_poll_events), K_FOREVER);
	if (err != 0) {
		LOG_ERR("failed to re-submit event queue polling (err %d)", err);
	}
}

int cannectivity_led_init(void)
{
	struct led_ctx *lctx;
	uint16_t ch;
	int err;
	int i;

	for (ch = 0; ch < ARRAY_SIZE(led_channel_ctx); ch++) {
		lctx = &led_channel_ctx[ch];
		lctx->ch = ch;

		for (i = 0; i < ARRAY_SIZE(lctx->activity); i++) {
			lctx->activity[i] = sys_timepoint_calc(K_NO_WAIT);
		}

		if (LED_CTX_HAS_STATE_LED(lctx)) {
			if (!led_is_ready_dt(&lctx->state_led)) {
				LOG_ERR("state LED for channel %u not ready", ch);
				return -ENODEV;
			}
		}

		if (LED_CTX_HAS_ERROR_LED(lctx)) {
			if (!led_is_ready_dt(&lctx->error_led)) {
				LOG_ERR("error LED for channel %u not ready", ch);
				return -ENODEV;
			}
		}

		for (i = 0; i < ARRAY_SIZE(lctx->activity_led); i++) {
			if (lctx->activity_led[i].dev != NULL) {
				if (!led_is_ready_dt(&lctx->activity_led[i])) {
					LOG_ERR("activity LED %d for channel %u not ready", i, ch);
					return -ENODEV;
				}
			}
		}

		k_msgq_init(&lctx->eventq, lctx->eventq_buf, sizeof(led_event_t),
			    CONFIG_CANNECTIVITY_LED_EVENT_MSGQ_SIZE);

		k_poll_event_init(&lctx->eventq_poll_events[0], K_POLL_TYPE_MSGQ_DATA_AVAILABLE,
				  K_POLL_MODE_NOTIFY_ONLY, &lctx->eventq);

		k_work_poll_init(&lctx->eventq_work, led_event_triggered_work_handler);

		err = k_work_poll_submit(&lctx->eventq_work, lctx->eventq_poll_events, 1U,
					 K_FOREVER);
		if (err != 0) {
			LOG_ERR("failed to submit event queue polling (err %d)", err);
			return err;
		}

		smf_set_initial(SMF_CTX(lctx), &led_states[LED_STATE_NORMAL]);
	}

	k_timer_start(&led_tick_timer, K_MSEC(LED_TICK_MS), K_MSEC(LED_TICK_MS));

	return 0;
}
```

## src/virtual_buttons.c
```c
/*
 * SPDX-License-Identifier: Apache-2.0
 *
 * Virtual button states are reported over gs_usb RX only. No CAN TX calls.
 */
#include <zephyr/device.h>
#include <zephyr/devicetree.h>
#include <zephyr/drivers/gpio.h>
#include <zephyr/kernel.h>
#include <zephyr/logging/log.h>
#include <cannectivity/usb/class/gs_usb.h>
#include "cannectivity.h"

LOG_MODULE_REGISTER(virtual_buttons, CONFIG_CANNECTIVITY_LOG_LEVEL);

struct virtual_button { struct gpio_dt_spec gpio; uint8_t bit; };
static const struct virtual_button buttons[] = {
#if DT_NODE_EXISTS(DT_ALIAS(yfa_button0))
    { GPIO_DT_SPEC_GET(DT_ALIAS(yfa_button0), gpios), BIT(0) },
#endif
#if DT_NODE_EXISTS(DT_ALIAS(yfa_button1))
    { GPIO_DT_SPEC_GET(DT_ALIAS(yfa_button1), gpios), BIT(1) },
#endif
#if DT_NODE_EXISTS(DT_ALIAS(yfa_button2))
    { GPIO_DT_SPEC_GET(DT_ALIAS(yfa_button2), gpios), BIT(2) },
#endif
#if DT_NODE_EXISTS(DT_ALIAS(yfa_button3))
    { GPIO_DT_SPEC_GET(DT_ALIAS(yfa_button3), gpios), BIT(3) },
#endif
#if DT_NODE_EXISTS(DT_ALIAS(yfa_button4))
    { GPIO_DT_SPEC_GET(DT_ALIAS(yfa_button4), gpios), BIT(4) },
#endif
#if DT_NODE_EXISTS(DT_ALIAS(yfa_button5))
    { GPIO_DT_SPEC_GET(DT_ALIAS(yfa_button5), gpios), BIT(5) },
#endif
#if DT_NODE_EXISTS(DT_ALIAS(yfa_button6))
    { GPIO_DT_SPEC_GET(DT_ALIAS(yfa_button6), gpios), BIT(6) },
#endif
#if DT_NODE_EXISTS(DT_ALIAS(yfa_button7))
    { GPIO_DT_SPEC_GET(DT_ALIAS(yfa_button7), gpios), BIT(7) },
#endif
    { {0}, 0 }, /* sentinel permits zero configured aliases */
};
#define BUTTON_COUNT (ARRAY_SIZE(buttons) - 1)

static const struct device *usb_dev;
static struct k_work_delayable poll_work;
static uint8_t stable_state;
static uint8_t last_sample;
static uint8_t sequence;
static uint16_t stable_samples;
#define BUTTON_POLL_MS 10U
#define BUTTON_STABLE_POLLS DIV_ROUND_UP(CONFIG_CANNECTIVITY_VIRTUAL_BUTTON_DEBOUNCE_MS, BUTTON_POLL_MS)
/* Keep synthetic RX off the USB endpoint during channel bring-up. */
#define BUTTON_STARTUP_SETTLE_MS 500U
static int64_t channel_ready_at_ms;
static bool initial_pending = true;
static bool monitor_ready;
static bool channel_running;

void cannectivity_virtual_buttons_channel_event(bool started)
{
    channel_running = started;
    if (started) {
        initial_pending = true;
        channel_ready_at_ms = k_uptime_get() + BUTTON_STARTUP_SETTLE_MS;
    }
    if (monitor_ready) {
        (void)k_work_reschedule(&poll_work, K_NO_WAIT);
    }
}

static void poll_buttons(struct k_work *work)
{
    uint8_t sampled = 0;
    int err;
    ARG_UNUSED(work);

    for (size_t i = 0; i < BUTTON_COUNT; ++i) {
        err = gpio_pin_get_dt(&buttons[i].gpio);
        if (err < 0) {
            (void)k_work_reschedule(&poll_work, K_MSEC(BUTTON_POLL_MS));
            return;
        }
        if (err > 0) {
            sampled |= buttons[i].bit;
        }
    }

    if (sampled != last_sample) {
        last_sample = sampled;
        stable_samples = 0;
    } else if (stable_samples < BUTTON_STABLE_POLLS) {
        stable_samples++;
    }

    if (channel_running && k_uptime_get() >= channel_ready_at_ms &&
        stable_samples >= BUTTON_STABLE_POLLS &&
        (sampled != stable_state || initial_pending)) {
        uint8_t payload[2] = {sampled, sequence};
        err = gs_usb_inject_rx(usb_dev, 0, 0x555, payload, sizeof(payload));
        if (err == 0) {
            stable_state = sampled;
            initial_pending = false;
            sequence++;
        }
    }

    (void)k_work_reschedule(&poll_work, K_MSEC(BUTTON_POLL_MS));
}

int cannectivity_virtual_buttons_init(const struct device *gs_usb)
{
    if (BUTTON_COUNT > 8) {
        return -EINVAL;
    }
    for (size_t i = 0; i < BUTTON_COUNT; ++i) {
        if (!gpio_is_ready_dt(&buttons[i].gpio)) {
            return -ENODEV;
        }
        int err = gpio_pin_configure_dt(&buttons[i].gpio, GPIO_INPUT | GPIO_PULL_UP);
        if (err != 0) {
            return err;
        }
    }
    usb_dev = gs_usb;
    k_work_init_delayable(&poll_work, poll_buttons);
    monitor_ready = true;
    (void)k_work_schedule(&poll_work, K_MSEC(BUTTON_POLL_MS));
    return 0;
}
```
